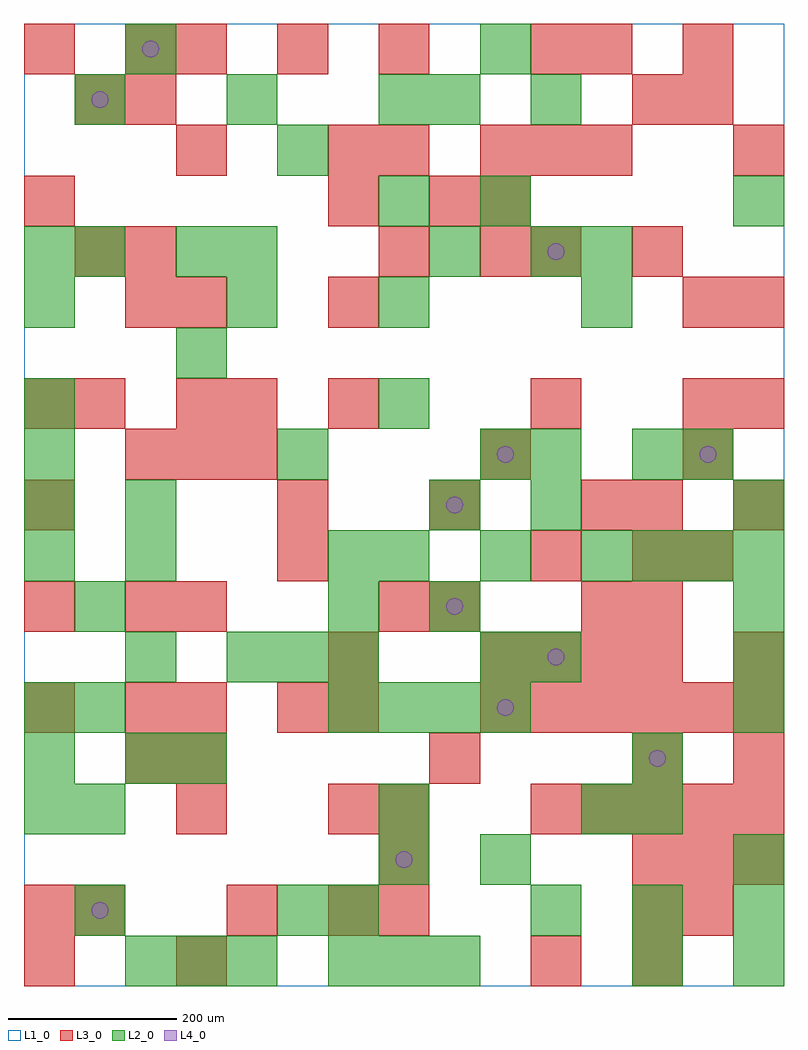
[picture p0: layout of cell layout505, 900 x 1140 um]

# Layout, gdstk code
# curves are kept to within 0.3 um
import gdstk
lib = gdstk.Library(unit=1e-6, precision=1e-09)
def R(c, l, rs):  # rectangles x0, y0, x1, y1
    for r in rs: c.add(gdstk.rectangle(r[:2], r[2:], *l))
def A(c, l, x, y, w, h, nx, ny, dx, dy):  # array of equal rectangles
    R(c, l, [(x+i*dx, y+j*dy, x+i*dx+w, y+j*dy+h) for i in range(nx) for j in range(ny)])
def P(c, l, *ps):  # polygons
    for p in ps: c.add(gdstk.Polygon(p, *l))
L1_0 = (1, 0)
L2_0 = (2, 0)
L3_0 = (3, 0)
L4_0 = (4, 0)

layout505 = lib.new_cell('layout505')
R(layout505, L1_0, [(0,0,900,1140)])
A(layout505, L2_0, 120, 0, 60, 60, 3, 1, 60, 0)
A(layout505, L2_0, 360, 0, 60, 60, 3, 1, 60, 0)
A(layout505, L2_0, 60, 60, 60, 60, 1, 4, 0, 120)
A(layout505, L2_0, 600, 60, 60, 60, 3, 1, 120, 0)
A(layout505, L2_0, 540, 120, 60, 60, 1, 3, 0, 240)
A(layout505, L2_0, 0, 180, 60, 60, 1, 3, 0, 60)
A(layout505, L2_0, 120, 240, 60, 60, 1, 3, 0, 120)
A(layout505, L2_0, 360, 300, 60, 60, 4, 1, 60, 0)
A(layout505, L2_0, 840, 300, 60, 60, 1, 3, 0, 60)
A(layout505, L2_0, 240, 360, 60, 60, 3, 1, 60, 0)
A(layout505, L2_0, 0, 480, 60, 60, 1, 4, 0, 60)
A(layout505, L2_0, 420, 480, 60, 60, 3, 1, 120, 0)
A(layout505, L2_0, 720, 480, 60, 60, 3, 1, 60, 0)
A(layout505, L2_0, 420, 660, 60, 60, 1, 3, 0, 120)
A(layout505, L2_0, 60, 1020, 60, 60, 3, 1, 180, 0)
R(layout505, L2_0, [(720,0,780,60), (840,0,900,60), (300,60,360,120), (360,60,420,120), (420,120,480,180), (840,120,900,180), (420,180,480,240), (660,180,720,240), (720,180,780,240), (180,240,240,300), (720,240,780,300), (600,360,660,420), (360,420,420,480), (480,420,540,480), (360,480,420,540), (120,540,180,600), (480,540,540,600), (600,540,660,600), (840,540,900,600), (300,600,360,660), (600,600,660,660), (720,600,780,660), (780,600,840,660), (180,720,240,780), (0,780,60,840), (240,780,300,840), (660,780,720,840), (0,840,60,900), (60,840,120,900), (180,840,240,900), (240,840,300,900), (480,840,540,900), (600,840,660,900), (660,840,720,900), (540,900,600,960), (840,900,900,960), (300,960,360,1020), (480,1020,540,1080), (600,1020,660,1080), (120,1080,180,1140), (540,1080,600,1140)])
A(layout505, L3_0, 360, 60, 60, 60, 1, 3, 0, 120)
A(layout505, L3_0, 420, 60, 60, 60, 1, 3, 0, 60)
A(layout505, L3_0, 720, 60, 60, 60, 1, 3, 0, 180)
A(layout505, L3_0, 720, 120, 60, 60, 3, 1, 60, 0)
A(layout505, L3_0, 180, 180, 60, 60, 1, 3, 0, 60)
A(layout505, L3_0, 600, 180, 60, 60, 5, 1, 60, 0)
A(layout505, L3_0, 0, 300, 60, 60, 1, 4, 0, 120)
A(layout505, L3_0, 540, 300, 60, 60, 6, 1, 60, 0)
A(layout505, L3_0, 540, 360, 60, 60, 4, 1, 60, 0)
A(layout505, L3_0, 600, 480, 60, 60, 1, 3, 0, 180)
A(layout505, L3_0, 300, 540, 60, 60, 3, 1, 180, 0)
A(layout505, L3_0, 840, 540, 60, 60, 1, 3, 0, 120)
A(layout505, L3_0, 120, 600, 60, 60, 3, 1, 60, 0)
A(layout505, L3_0, 60, 660, 60, 60, 1, 3, 0, 180)
A(layout505, L3_0, 360, 660, 60, 60, 1, 3, 0, 120)
A(layout505, L3_0, 540, 960, 60, 60, 3, 1, 60, 0)
A(layout505, L3_0, 180, 1080, 60, 60, 3, 1, 120, 0)
R(layout505, L3_0, [(0,0,60,60), (180,0,240,60), (600,0,660,60), (720,0,780,60), (0,60,60,120), (60,60,120,120), (240,60,300,120), (780,60,840,120), (120,240,180,300), (480,240,540,300), (840,240,900,300), (120,300,180,360), (300,300,360,360), (360,360,420,420), (840,360,900,420), (120,420,180,480), (180,420,240,480), (420,420,480,480), (480,420,540,480), (660,420,720,480), (300,480,360,540), (720,480,780,540), (780,480,840,540), (720,540,780,600), (540,600,600,660), (780,600,840,660), (180,660,240,720), (240,660,300,720), (780,660,840,720), (120,780,180,840), (180,780,240,840), (780,780,840,840), (120,840,180,900), (420,840,480,900), (540,840,600,900), (720,840,780,900), (0,900,60,960), (480,900,540,960), (540,900,600,960), (180,960,240,1020), (360,960,420,1020), (420,960,480,1020), (840,960,900,1020), (120,1020,180,1080), (720,1020,780,1080), (780,1020,840,1080), (0,1080,60,1140), (120,1080,180,1140), (600,1080,660,1140), (660,1080,720,1140), (780,1080,840,1140)])
P(layout505, L4_0, [(100,90),(99.239,93.827),(97.071,97.071),(93.827,99.239),(90,100),(86.173,99.239),(82.929,97.071),(80.761,93.827),(80,90),(80.761,86.173),(82.929,82.929),(86.173,80.761),(90,80),(93.827,80.761),(97.071,82.929),(99.239,86.173)],
  [(100,1050),(99.239,1053.827),(97.071,1057.071),(93.827,1059.239),(90,1060),(86.173,1059.239),(82.929,1057.071),(80.761,1053.827),(80,1050),(80.761,1046.173),(82.929,1042.929),(86.173,1040.761),(90,1040),(93.827,1040.761),(97.071,1042.929),(99.239,1046.173)],
  [(160,1110),(159.239,1113.827),(157.071,1117.071),(153.827,1119.239),(150,1120),(146.173,1119.239),(142.929,1117.071),(140.761,1113.827),(140,1110),(140.761,1106.173),(142.929,1102.929),(146.173,1100.761),(150,1100),(153.827,1100.761),(157.071,1102.929),(159.239,1106.173)],
  [(460,150),(459.239,153.827),(457.071,157.071),(453.827,159.239),(450,160),(446.173,159.239),(442.929,157.071),(440.761,153.827),(440,150),(440.761,146.173),(442.929,142.929),(446.173,140.761),(450,140),(453.827,140.761),(457.071,142.929),(459.239,146.173)],
  [(520,450),(519.239,453.827),(517.071,457.071),(513.827,459.239),(510,460),(506.173,459.239),(502.929,457.071),(500.761,453.827),(500,450),(500.761,446.173),(502.929,442.929),(506.173,440.761),(510,440),(513.827,440.761),(517.071,442.929),(519.239,446.173)],
  [(520,570),(519.239,573.827),(517.071,577.071),(513.827,579.239),(510,580),(506.173,579.239),(502.929,577.071),(500.761,573.827),(500,570),(500.761,566.173),(502.929,562.929),(506.173,560.761),(510,560),(513.827,560.761),(517.071,562.929),(519.239,566.173)],
  [(580,330),(579.239,333.827),(577.071,337.071),(573.827,339.239),(570,340),(566.173,339.239),(562.929,337.071),(560.761,333.827),(560,330),(560.761,326.173),(562.929,322.929),(566.173,320.761),(570,320),(573.827,320.761),(577.071,322.929),(579.239,326.173)],
  [(580,630),(579.239,633.827),(577.071,637.071),(573.827,639.239),(570,640),(566.173,639.239),(562.929,637.071),(560.761,633.827),(560,630),(560.761,626.173),(562.929,622.929),(566.173,620.761),(570,620),(573.827,620.761),(577.071,622.929),(579.239,626.173)],
  [(640,390),(639.239,393.827),(637.071,397.071),(633.827,399.239),(630,400),(626.173,399.239),(622.929,397.071),(620.761,393.827),(620,390),(620.761,386.173),(622.929,382.929),(626.173,380.761),(630,380),(633.827,380.761),(637.071,382.929),(639.239,386.173)],
  [(640,870),(639.239,873.827),(637.071,877.071),(633.827,879.239),(630,880),(626.173,879.239),(622.929,877.071),(620.761,873.827),(620,870),(620.761,866.173),(622.929,862.929),(626.173,860.761),(630,860),(633.827,860.761),(637.071,862.929),(639.239,866.173)],
  [(760,270),(759.239,273.827),(757.071,277.071),(753.827,279.239),(750,280),(746.173,279.239),(742.929,277.071),(740.761,273.827),(740,270),(740.761,266.173),(742.929,262.929),(746.173,260.761),(750,260),(753.827,260.761),(757.071,262.929),(759.239,266.173)],
  [(820,630),(819.239,633.827),(817.071,637.071),(813.827,639.239),(810,640),(806.173,639.239),(802.929,637.071),(800.761,633.827),(800,630),(800.761,626.173),(802.929,622.929),(806.173,620.761),(810,620),(813.827,620.761),(817.071,622.929),(819.239,626.173)])

lib.write_gds('layout505.gds')
